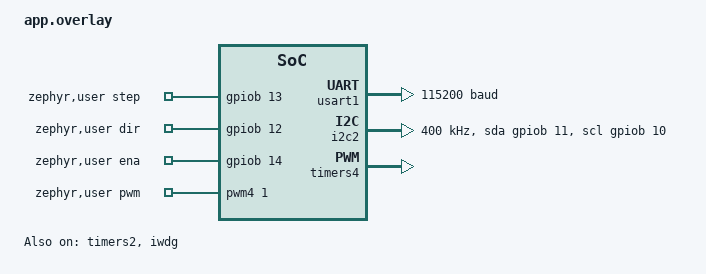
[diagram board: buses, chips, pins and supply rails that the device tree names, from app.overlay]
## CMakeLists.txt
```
# Antenna V5 azimuth fuzzy controller - Zephyr application
# Board: stm32_min_dev@blue (STM32F103C8 "Blue Pill")
cmake_minimum_required(VERSION 3.20.0)

set(BOARD stm32_min_dev@blue CACHE STRING "Target board")

find_package(Zephyr REQUIRED HINTS $ENV{ZEPHYR_BASE})
project(antenna_v5)

target_include_directories(app PRIVATE core src)
target_sources(app PRIVATE
  core/antenna_core.c
  core/stepgen.c
  core/link_proto.c
  src/main.c
  src/hw_stepper.c
  src/hw_mt6701.c
  src/hw_servo.c
  src/uart_link.c
  src/params_store.c
)
# Same numerical behaviour as the host/MEX builds: no fast-math, no implicit doubles.
target_compile_options(app PRIVATE -Wdouble-promotion -fno-fast-math)
```

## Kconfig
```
mainmenu "Antenna V5 azimuth fuzzy controller"

menu "Antenna application"

config ANTENNA_MT6701_SINGLE_READS
	bool "Read MT6701 registers 0x03 and 0x04 with two single-byte transfers"
	help
	  The datasheet figure shows two single-byte reads (0x03 first, then
	  0x04). The default burst read of two bytes starting at 0x03 is what
	  most drivers use and is faster; enable this if a module returns
	  inconsistent bytes with burst reads.

config ANTENNA_TX_BUF_SIZE
	int "UART transmit ring buffer size"
	default 4096

config ANTENNA_TELEMETRY_MS
	int "Telemetry period at boot in ms (0 = off)"
	default 100

config ANTENNA_WDT_TIMEOUT_MS
	int "Independent watchdog timeout in ms"
	default 1000

endmenu

source "Kconfig.zephyr"
```

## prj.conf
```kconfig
# Antenna V5 - STM32F103C8 Blue Pill, Zephyr 3.7
CONFIG_GPIO=y
CONFIG_SERIAL=y
CONFIG_UART_INTERRUPT_DRIVEN=y
CONFIG_I2C=y
CONFIG_I2C_STM32_BUS_RECOVERY=y
CONFIG_PWM=y
CONFIG_COUNTER=y
CONFIG_WATCHDOG=y
CONFIG_FLASH=y
CONFIG_FLASH_MAP=y
CONFIG_NVS=y
CONFIG_CRC=y
CONFIG_RING_BUFFER=y
# link inside code_partition (0..60K); the last 4K hold the NVS parameters
CONFIG_USE_DT_CODE_PARTITION=y

# The UART carries the command/telemetry protocol only.
CONFIG_CONSOLE=n
CONFIG_UART_CONSOLE=n
CONFIG_PRINTK=n
CONFIG_BOOT_BANNER=n
CONFIG_LOG=n
CONFIG_ASSERT=n

# Control loop runs in the main thread (priority 2 preemptible), 100 Hz k_timer.
CONFIG_MAIN_THREAD_PRIORITY=2
CONFIG_MAIN_STACK_SIZE=2048
CONFIG_ISR_STACK_SIZE=1024
CONFIG_IDLE_STACK_SIZE=320
CONFIG_SYS_CLOCK_TICKS_PER_SEC=1000

CONFIG_COMPILER_WARNINGS_AS_ERRORS=y
CONFIG_SIZE_OPTIMIZATIONS=y
```

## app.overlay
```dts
/*
 * Antenna V5 pin map on the STM32F103C8 Blue Pill (board stm32_min_dev@blue).
 *
 *   PB13  STEP  -> NPN buffer -> TB6600 PUL-   (PUL+ to 5 V, common anode)
 *   PB12  DIR   -> NPN buffer -> TB6600 DIR-   (DIR+ to 5 V)
 *   PB14  ENA   -> NPN buffer -> TB6600 EN-    (optional; high = motor released)
 *   PB6   TIM4_CH1 servo PWM 50 Hz -> LD-1501MG signal (1 k series)
 *   PB10  I2C2 SCL, PB11 I2C2 SDA -> MT6701 (3.3 V, 4.7 k pull-ups)
 *   PA9   USART1 TX -> USB-UART RX,  PA10 USART1 RX <- USB-UART TX (115200 8N1)
 *   PC13  on-board LED (status)
 * TIM2 is the STEP timer (1 MHz counter, interrupt per edge).
 */
#include <zephyr/dt-bindings/gpio/gpio.h>
#include <zephyr/dt-bindings/pwm/pwm.h>

/ {
	chosen {
		zephyr,code-partition = &code_partition;
	};

	zephyr,user {
		step-gpios = <&gpiob 13 GPIO_ACTIVE_HIGH>;
		dir-gpios = <&gpiob 12 GPIO_ACTIVE_HIGH>;
		ena-gpios = <&gpiob 14 GPIO_ACTIVE_HIGH>;
		pwms = <&pwm4 1 PWM_MSEC(20) PWM_POLARITY_NORMAL>;
	};

	aliases {
		watchdog0 = &iwdg;
	};
};

/* Peripherals enabled by the board file that share our pins or are unused. */
&usart2 { status = "disabled"; };
&usart3 { status = "disabled"; };   /* PB10/PB11 are used by I2C2 */
&spi1 { status = "disabled"; };
&spi2 { status = "disabled"; };     /* PB12..PB15 are used for STEP/DIR/ENA */
&i2c1 { status = "disabled"; };     /* PB6 is the servo PWM */
&adc1 { status = "disabled"; };
&pwm1 { status = "disabled"; };
&timers1 { status = "disabled"; };
&usb { status = "disabled"; };

&usart1 {
	current-speed = <115200>;
	interrupts = <37 2>;
};

&i2c2 {
	status = "okay";
	clock-frequency = <I2C_BITRATE_FAST>;
	interrupts = <33 1>, <34 1>;
	scl-gpios = <&gpiob 10 (GPIO_OPEN_DRAIN | GPIO_PULL_UP)>;
	sda-gpios = <&gpiob 11 (GPIO_OPEN_DRAIN | GPIO_PULL_UP)>;
};

&timers2 {
	st,prescaler = <71>;          /* 72 MHz / 72 = 1 MHz, 1 us per tick */
	interrupts = <28 0>;          /* highest priority: STEP edges */
	status = "okay";

	stepgen_counter: counter {
		compatible = "st,stm32-counter";
		status = "okay";
	};
};

&timers4 {
	st,prescaler = <71>;          /* 1 us PWM resolution, 20000 counts per frame */
	status = "okay";

	pwm4: pwm {
		compatible = "st,stm32-pwm";
		pinctrl-0 = <&tim4_ch1_pwm_out_pb6>;
		pinctrl-names = "default";
		#pwm-cells = <3>;
		status = "okay";
	};
};

&iwdg {
	status = "okay";
};

&flash0 {
	partitions {
		compatible = "fixed-partitions";
		#address-cells = <1>;
		#size-cells = <1>;

		code_partition: partition@0 {
			label = "code";
			reg = <0x00000000 DT_SIZE_K(60)>;
			read-only;
		};

		storage_partition: partition@f000 {
			label = "storage";
			reg = <0x0000f000 DT_SIZE_K(4)>;
		};
	};
};
```

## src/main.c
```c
/*
 * Antenna V5 firmware - STM32F103C8 Blue Pill, Zephyr.
 *
 *   17HS1352-P4130 + TB6600 (12 V, 1/16) --GT2 20T:80T--> azimuth shaft
 *   MT6701 on the azimuth shaft (I2C2) -> fuzzy Sugeno azimuth loop, 100 Hz
 *   LD-1501MG elevation servo (internal position loop) <- PWM 50 Hz
 *
 * Everything that decides motion lives in core/ (portable C shared with the
 * MATLAB SIL/PIL tests). This file only wires the core to the hardware:
 * one 10 ms tick = read sensor, acore_step, update STEP timer and servo PWM,
 * then execute the UART commands received during the previous period.
 */
#include <zephyr/drivers/gpio.h>
#include <zephyr/drivers/watchdog.h>
#include <zephyr/kernel.h>

#include "antenna_core.h"
#include "hw_mt6701.h"
#include "hw_servo.h"
#include "hw_stepper.h"
#include "link_proto.h"
#include "params_store.h"
#include "uart_link.h"

static acore_params_t par;
static acore_t core;
static link_ctx_t lk;
static uint16_t last_raw;
static uint32_t last_loop_us;
static uint32_t sensor_errors;

static const struct gpio_dt_spec led = GPIO_DT_SPEC_GET(DT_ALIAS(led0), gpios);
static const struct device *const wdt = DEVICE_DT_GET(DT_ALIAS(watchdog0));
static int wdt_channel = -1;

K_SEM_DEFINE(tick_sem, 0, 1);

static void tick_fn(struct k_timer *timer)
{
	ARG_UNUSED(timer);
	k_sem_give(&tick_sem);
}
K_TIMER_DEFINE(ctrl_timer, tick_fn, NULL);

/* ---------- protocol hooks ---------- */

static void hk_write(link_ctx_t *l, const char *text)
{
	ARG_UNUSED(l);
	(void)uart_link_write(text);
}

static int hk_save(link_ctx_t *l)
{
	ARG_UNUSED(l);
	return params_store_save(&par);
}

static int hk_load(link_ctx_t *l)
{
	ARG_UNUSED(l);
	if (params_store_load(&par) != 0) {
		acore_params_default(&par);
		return -1;
	}
	return 0;
}

static int hk_read_raw(link_ctx_t *l, uint16_t *raw)
{
	ARG_UNUSED(l);
	return hw_mt6701_read(raw);
}

static void hk_set_pil(link_ctx_t *l, int on)
{
	ARG_UNUSED(l);
	/* PIL: the model in MATLAB is the plant; never move the real motor */
	hw_stepper_enable(on == 0);
}

static uint32_t hk_cycles(link_ctx_t *l)
{
	ARG_UNUSED(l);
	return k_cycle_get_32();
}

static void hk_params_changed(link_ctx_t *l)
{
	ARG_UNUSED(l);
	hw_stepper_set_motor_sign(par.motor_sign);
}

static void hk_telemetry(link_ctx_t *l)
{
	char buf[LINK_LINE_MAX + 32];

	if (link_format_telemetry(buf, sizeof(buf), l->core, k_uptime_get_32(), hw_stepper_steps(),
				  last_raw, last_loop_us, l->pil)) {
		(void)uart_link_write(buf);
	}
}

static const link_hooks_t hooks = {
	.write = hk_write,
	.save_params = hk_save,
	.load_params = hk_load,
	.read_raw = hk_read_raw,
	.set_pil = hk_set_pil,
	.cycles_now = hk_cycles,
	.params_changed = hk_params_changed,
	.telemetry = hk_telemetry,
};

/* ---------- helpers ---------- */

static void watchdog_start(void)
{
	struct wdt_timeout_cfg cfg = {
		.window = {.min = 0u, .max = CONFIG_ANTENNA_WDT_TIMEOUT_MS},
		.callback = NULL,
		.flags = WDT_FLAG_RESET_SOC,
	};

	if (!device_is_ready(wdt)) {
		return;
	}
	wdt_channel = wdt_install_timeout(wdt, &cfg);
	if (wdt_channel < 0) {
		return;
	}
	if (wdt_setup(wdt, WDT_OPT_PAUSE_HALTED_BY_DBG) != 0) {
		(void)wdt_setup(wdt, 0);
	}
}

static void led_update(uint32_t tick)
{
	int on;

	if (lk.pil) {
		on = 1;
	} else if (core.mode == ACORE_MODE_FAULT) {
		on = (tick / 10u) & 1u; /* 5 Hz */
	} else if (core.mode == ACORE_MODE_NOZERO) {
		on = (tick % 100u) < 10u; /* short flash each second */
	} else {
		on = (tick / 50u) & 1u; /* 1 Hz */
	}
	gpio_pin_set_dt(&led, on);
}

static void report_item(const char *name, int rc)
{
	char num[12];

	(void)uart_link_write(name);
	link_fmt_i32(num, rc);
	(void)uart_link_write(num);
}

/* "name=0" means OK; a negative value is a Zephyr errno. */
static void report_boot(int params_rc, int sensor_rc, int store_rc, int stepper_rc, int servo_rc)
{
	(void)uart_link_write("# antenna_v5 Zephyr " LINK_FW_VERSION " ready\n# params=");
	(void)uart_link_write(params_rc == 0 ? "flash" : "default");
	report_item(" nvs=", store_rc);
	report_item(" sensor=", sensor_rc);
	report_item(" stepper=", stepper_rc);
	report_item(" servo=", servo_rc);
	(void)uart_link_write("\n");
}

int main(void)
{
	char line[LINK_LINE_MAX];
	acore_in_t in = {0};
	acore_out_t out;
	uint32_t tick = 0, prev = 0, telemetry_acc = 0;
	const uint32_t ts_cycles = (uint32_t)(sys_clock_hw_cycles_per_sec() / 100u);
	int store_rc, params_rc, sensor_rc, stepper_rc, servo_rc;
	uint16_t raw;

	if (gpio_is_ready_dt(&led)) {
		gpio_pin_configure_dt(&led, GPIO_OUTPUT_INACTIVE);
	}
	(void)uart_link_init();
	stepper_rc = hw_stepper_init();
	sensor_rc = hw_mt6701_init();
	store_rc = params_store_init();

	acore_params_default(&par);
	params_rc = params_store_load(&par);
	if (params_rc != 0) {
		acore_params_default(&par);
	}
	hw_stepper_set_motor_sign(par.motor_sign);
	acore_init(&core, &par);
	servo_rc = hw_servo_init(core.out.servo_us);
	link_init(&lk, &core, &par, &hooks, NULL);
	lk.telemetry_ms = CONFIG_ANTENNA_TELEMETRY_MS;
	if (sensor_rc == 0) {
		sensor_rc = hw_mt6701_read(&raw);
	}
	report_boot(params_rc, sensor_rc, store_rc, stepper_rc, servo_rc);
	watchdog_start();

	/* The control period is fixed at 10 ms (parameter ts is read-only). */
	k_timer_start(&ctrl_timer, K_MSEC(10), K_MSEC(10));

	for (;;) {
		uint32_t t0, period;

		k_sem_take(&tick_sem, K_FOREVER);
		t0 = k_cycle_get_32();
		period = t0 - prev;
		prev = t0;
		tick++;
		if (wdt_channel >= 0) {
			(void)wdt_feed(wdt, wdt_channel);
		}

		if (!lk.pil) {
			int rc = hw_mt6701_read(&raw);

			in.sensor_ok = (rc == 0);
			if (rc == 0) {
				in.raw = raw;
				last_raw = raw;
			} else if ((++sensor_errors % 10u) == 3u) {
				(void)hw_mt6701_recover();
			}
			in.steps = hw_stepper_steps();
			in.heartbeat = lk.heartbeat;
			lk.heartbeat = 0;
			in.overrun = (tick > 2u && period > ts_cycles + ts_cycles / 2u) ? 1u : 0u;
			acore_step(&core, &par, &in, &out);
			hw_stepper_command(out.half_period_us, out.dir);
			(void)hw_servo_set_us(out.servo_us);
		}

		/* commands received during the last period take effect at the next step */
		while (uart_link_get_line(line, sizeof(line)) == 0) {
			link_handle_line(&lk, line);
		}

		if (lk.telemetry_ms != 0u && !lk.pil) {
			telemetry_acc += 10u;
			if (telemetry_acc >= lk.telemetry_ms) {
				telemetry_acc = 0u;
				hk_telemetry(&lk);
			}
		}
		led_update(tick);
		last_loop_us = k_cyc_to_us_floor32(k_cycle_get_32() - t0);
	}
	return 0;
}
```

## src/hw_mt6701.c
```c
/*
 * MT6701 (MagnTek, Rev.1.8): default 7-bit slave address 0x06.
 * Reg 0x03 = Angle[13:6], reg 0x04 bits 7..2 = Angle[5:0]; read 0x03 first.
 * angle = raw / 16384 * 360 deg. I2C clock up to 1 MHz; 400 kHz is used.
 */
#include "hw_mt6701.h"

#include <zephyr/device.h>
#include <zephyr/drivers/i2c.h>

#define MT6701_ADDR      0x06
#define MT6701_REG_ANGLE 0x03

static const struct device *const bus = DEVICE_DT_GET(DT_NODELABEL(i2c2));

int hw_mt6701_init(void)
{
	return device_is_ready(bus) ? 0 : -ENODEV;
}

int hw_mt6701_read(uint16_t *raw)
{
	uint8_t b[2];
	int rc;

#ifdef CONFIG_ANTENNA_MT6701_SINGLE_READS
	rc = i2c_reg_read_byte(bus, MT6701_ADDR, MT6701_REG_ANGLE, &b[0]);
	if (rc == 0) {
		rc = i2c_reg_read_byte(bus, MT6701_ADDR, MT6701_REG_ANGLE + 1, &b[1]);
	}
#else
	rc = i2c_burst_read(bus, MT6701_ADDR, MT6701_REG_ANGLE, b, sizeof(b));
#endif
	if (rc != 0) {
		return rc;
	}
	*raw = (uint16_t)(((uint16_t)b[0] << 6) | (b[1] >> 2));
	return 0;
}

int hw_mt6701_recover(void)
{
	return i2c_recover_bus(bus);
}
```

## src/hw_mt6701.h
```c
/* MT6701 magnetic angle sensor on I2C2 (address 0x06, angle in 0x03/0x04). */
#ifndef HW_MT6701_H
#define HW_MT6701_H

#include <stdint.h>

int hw_mt6701_init(void);
/* 14-bit absolute angle; returns 0 or a negative errno. */
int hw_mt6701_read(uint16_t *raw);
/* Toggle SCL to free a stuck bus after repeated errors. */
int hw_mt6701_recover(void);

#endif
```

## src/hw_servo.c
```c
#include "hw_servo.h"

#include <zephyr/drivers/pwm.h>

static const struct pwm_dt_spec servo = PWM_DT_SPEC_GET(DT_PATH(zephyr_user));
static uint16_t current_us;

int hw_servo_init(uint16_t pulse_us)
{
	if (!pwm_is_ready_dt(&servo)) {
		return -ENODEV;
	}
	current_us = 0u;
	return hw_servo_set_us(pulse_us);
}

int hw_servo_set_us(uint16_t pulse_us)
{
	if (pulse_us == current_us) {
		return 0;
	}
	current_us = pulse_us;
	return pwm_set_pulse_dt(&servo, PWM_USEC(pulse_us));
}
```

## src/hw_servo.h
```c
/* LD-1501MG servo pulse on TIM4_CH1 (PB6), 50 Hz frame. */
#ifndef HW_SERVO_H
#define HW_SERVO_H

#include <stdint.h>

int hw_servo_init(uint16_t pulse_us);
/* Applied by the timer at the start of the next 20 ms frame (preload). */
int hw_servo_set_us(uint16_t pulse_us);

#endif
```

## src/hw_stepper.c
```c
/*
 * STEP generation: TIM2 runs as a Zephyr counter at 1 MHz. Every top-value
 * interrupt calls stepgen_tick(), which returns the time to the next edge;
 * the new top value is loaded without resetting the counter, so the edge
 * spacing is set by the hardware timer and not by the interrupt latency.
 */
#include "hw_stepper.h"

#include <zephyr/device.h>
#include <zephyr/drivers/counter.h>
#include <zephyr/drivers/gpio.h>
#include <zephyr/kernel.h>

#include "stepgen.h"

#define USER_NODE DT_PATH(zephyr_user)
#define DIR_GUARD_US 50u

static const struct gpio_dt_spec step_pin = GPIO_DT_SPEC_GET(USER_NODE, step_gpios);
static const struct gpio_dt_spec dir_pin = GPIO_DT_SPEC_GET(USER_NODE, dir_gpios);
#if DT_NODE_HAS_PROP(USER_NODE, ena_gpios)
static const struct gpio_dt_spec ena_pin = GPIO_DT_SPEC_GET(USER_NODE, ena_gpios);
#endif
static const struct device *const timer = DEVICE_DT_GET(DT_NODELABEL(stepgen_counter));

static stepgen_t sg;
static volatile int8_t motor_sign = 1;
static volatile bool enabled = true;
static uint32_t loaded_ticks;

static void write_dir(int8_t dir)
{
	gpio_pin_set_dt(&dir_pin, (dir * motor_sign) > 0);
}

static void top_cb(const struct device *dev, void *user_data)
{
	stepgen_pins_t pins;
	uint32_t next = stepgen_tick(&sg, &pins);

	ARG_UNUSED(user_data);
	if (pins.dir_changed) {
		write_dir(pins.dir);
	}
	gpio_pin_set_dt(&step_pin, pins.step_level && enabled);
	if (next == 0u) {
		counter_stop(dev);
		return;
	}
	if (next - 1u != loaded_ticks) {
		struct counter_top_cfg cfg = {
			.ticks = next - 1u, /* period = top + 1 ticks */
			.callback = top_cb,
			.user_data = NULL,
			.flags = COUNTER_TOP_CFG_DONT_RESET,
		};

		loaded_ticks = next - 1u;
		(void)counter_set_top_value(dev, &cfg);
	}
}

int hw_stepper_init(void)
{
	if (!gpio_is_ready_dt(&step_pin) || !gpio_is_ready_dt(&dir_pin) || !device_is_ready(timer)) {
		return -ENODEV;
	}
	if (counter_get_frequency(timer) != 1000000u) {
		return -EINVAL; /* st,prescaler must give 1 us ticks */
	}
	gpio_pin_configure_dt(&step_pin, GPIO_OUTPUT_INACTIVE);
	gpio_pin_configure_dt(&dir_pin, GPIO_OUTPUT_INACTIVE);
#if DT_NODE_HAS_PROP(USER_NODE, ena_gpios)
	gpio_pin_configure_dt(&ena_pin, GPIO_OUTPUT_INACTIVE); /* driver enabled */
#endif
	stepgen_init(&sg, DIR_GUARD_US);
	write_dir(sg.dir);
	return 0;
}

void hw_stepper_command(uint32_t half_period_us, int8_t dir)
{
	unsigned int key;
	uint32_t start;

	if (!enabled) {
		half_period_us = 0u;
	}
	key = irq_lock();
	start = stepgen_command(&sg, half_period_us, dir);
	if (start != 0u) {
		struct counter_top_cfg cfg = {
			.ticks = start - 1u,
			.callback = top_cb,
			.user_data = NULL,
			.flags = 0, /* reset the counter: first edge after `start` us */
		};

		loaded_ticks = start - 1u;
		(void)counter_set_top_value(timer, &cfg);
		(void)counter_start(timer);
	} else if (sg.running) {
		/* faster rate while a long interval runs: shorten it (CNT = elapsed us) */
		uint32_t elapsed = 0u;
		uint32_t iv;

		(void)counter_get_value(timer, &elapsed);
		iv = stepgen_retime(&sg, elapsed);
		if (iv != 0u) {
			struct counter_top_cfg cfg = {
				.ticks = iv - 1u,
				.callback = top_cb,
				.user_data = NULL,
				.flags = COUNTER_TOP_CFG_DONT_RESET | COUNTER_TOP_CFG_RESET_WHEN_LATE,
			};

			loaded_ticks = iv - 1u;
			(void)counter_set_top_value(timer, &cfg);
		}
	}
	irq_unlock(key);
}

int32_t hw_stepper_steps(void)
{
	return sg.steps;
}

void hw_stepper_set_motor_sign(int8_t sign)
{
	unsigned int key = irq_lock();

	motor_sign = sign < 0 ? -1 : 1;
	write_dir(sg.dir);
	irq_unlock(key);
}

void hw_stepper_enable(bool enable)
{
	if (!enable) {
		hw_stepper_command(0u, 1);
	}
	enabled = enable;
#if DT_NODE_HAS_PROP(USER_NODE, ena_gpios)
	gpio_pin_set_dt(&ena_pin, enable ? 0 : 1);
#endif
}
```

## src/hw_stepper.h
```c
/* TB6600 STEP/DIR/ENA outputs driven by the portable stepgen state machine. */
#ifndef HW_STEPPER_H
#define HW_STEPPER_H

#include <stdbool.h>
#include <stdint.h>

int hw_stepper_init(void);
/* New command from the control loop (half period in us, 0 = stop). */
void hw_stepper_command(uint32_t half_period_us, int8_t dir);
/* Rising edges emitted so far, signed by logical direction. */
int32_t hw_stepper_steps(void);
void hw_stepper_set_motor_sign(int8_t sign);
/* false: STEP held low and the driver released through ENA (PIL mode). */
void hw_stepper_enable(bool enable);

#endif
```

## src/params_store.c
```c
/*
 * Parameters live in one NVS record with a version and a CRC-32. Writing
 * erases/programs internal flash, which stalls the CPU for tens of ms, so
 * the protocol only allows it while the azimuth is not moving.
 */
#include "params_store.h"

#include <stddef.h>
#include <string.h>
#include <zephyr/drivers/flash.h>
#include <zephyr/fs/nvs.h>
#include <zephyr/storage/flash_map.h>
#include <zephyr/sys/crc.h>

#define PARAMS_ID 1

typedef struct {
	uint16_t version;
	uint16_t size;
	acore_params_t p;
	uint32_t crc;
} blob_t;

static struct nvs_fs fs;
static bool mounted;

int params_store_init(void)
{
	struct flash_pages_info info;
	int rc;

	fs.flash_device = FIXED_PARTITION_DEVICE(storage_partition);
	if (!device_is_ready(fs.flash_device)) {
		return -ENODEV;
	}
	fs.offset = FIXED_PARTITION_OFFSET(storage_partition);
	rc = flash_get_page_info_by_offs(fs.flash_device, fs.offset, &info);
	if (rc) {
		return rc;
	}
	fs.sector_size = (uint16_t)info.size;
	fs.sector_count = (uint16_t)(FIXED_PARTITION_SIZE(storage_partition) / info.size);
	rc = nvs_mount(&fs);
	mounted = (rc == 0);
	return rc;
}

static uint32_t blob_crc(const blob_t *b)
{
	return crc32_ieee((const uint8_t *)b, offsetof(blob_t, crc));
}

int params_store_load(acore_params_t *p)
{
	blob_t b;
	ssize_t n;

	if (!mounted) {
		return -ENODEV;
	}
	n = nvs_read(&fs, PARAMS_ID, &b, sizeof(b));
	if (n != (ssize_t)sizeof(b)) {
		return -ENOENT;
	}
	if (b.version != ACORE_VERSION || b.size != sizeof(acore_params_t) ||
	    b.crc != blob_crc(&b) || acore_params_check(&b.p) != 0) {
		return -EINVAL;
	}
	*p = b.p;
	return 0;
}

int params_store_save(const acore_params_t *p)
{
	blob_t b;
	ssize_t n;

	if (!mounted) {
		return -ENODEV;
	}
	memset(&b, 0, sizeof(b));
	b.version = ACORE_VERSION;
	b.size = sizeof(acore_params_t);
	b.p = *p;
	b.crc = blob_crc(&b);
	n = nvs_write(&fs, PARAMS_ID, &b, sizeof(b));
	/* 0 = identical data already stored */
	return (n == (ssize_t)sizeof(b) || n == 0) ? 0 : -EIO;
}
```

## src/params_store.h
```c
/* Parameter persistence in the 4 KB storage partition (Zephyr NVS). */
#ifndef PARAMS_STORE_H
#define PARAMS_STORE_H

#include "antenna_core.h"

int params_store_init(void);
/* 0 = loaded; negative = nothing valid stored (p is not modified). */
int params_store_load(acore_params_t *p);
int params_store_save(const acore_params_t *p);

#endif
```

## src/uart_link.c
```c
#include "uart_link.h"

#include <string.h>
#include <zephyr/device.h>
#include <zephyr/drivers/uart.h>
#include <zephyr/kernel.h>
#include <zephyr/sys/ring_buffer.h>

#include "link_proto.h"

static const struct device *const uart = DEVICE_DT_GET(DT_NODELABEL(usart1));

RING_BUF_DECLARE(tx_ring, CONFIG_ANTENNA_TX_BUF_SIZE);
K_MSGQ_DEFINE(rx_lines, LINK_LINE_MAX, 8, 4);

static char rx_buf[LINK_LINE_MAX];
static size_t rx_len;
static bool rx_overflow;
static uint32_t dropped;

static void uart_isr(const struct device *dev, void *user_data)
{
	ARG_UNUSED(user_data);
	while (uart_irq_update(dev) && uart_irq_is_pending(dev)) {
		if (uart_irq_rx_ready(dev)) {
			uint8_t buf[16];
			int n = uart_fifo_read(dev, buf, sizeof(buf));

			for (int i = 0; i < n; i++) {
				char c = (char)buf[i];

				if (c == '\r') {
					continue;
				}
				if (c == '\n') {
					if (!rx_overflow && rx_len > 0u) {
						rx_buf[rx_len] = 0;
						(void)k_msgq_put(&rx_lines, rx_buf, K_NO_WAIT);
					}
					rx_len = 0u;
					rx_overflow = false;
				} else if (rx_len < sizeof(rx_buf) - 1u) {
					rx_buf[rx_len++] = c;
				} else {
					rx_overflow = true; /* line too long: dropped */
				}
			}
		}
		if (uart_irq_tx_ready(dev)) {
			uint8_t *data;
			uint32_t n = ring_buf_get_claim(&tx_ring, &data, 16u);

			if (n == 0u) {
				ring_buf_get_finish(&tx_ring, 0u);
				uart_irq_tx_disable(dev);
			} else {
				int sent = uart_fifo_fill(dev, data, (int)n);

				ring_buf_get_finish(&tx_ring, sent > 0 ? (uint32_t)sent : 0u);
			}
		}
	}
}

int uart_link_init(void)
{
	if (!device_is_ready(uart)) {
		return -ENODEV;
	}
	uart_irq_callback_user_data_set(uart, uart_isr, NULL);
	uart_irq_rx_enable(uart);
	return 0;
}

int uart_link_get_line(char *buf, size_t size)
{
	char line[LINK_LINE_MAX];

	if (k_msgq_get(&rx_lines, line, K_NO_WAIT) != 0) {
		return -EAGAIN;
	}
	strncpy(buf, line, size - 1u);
	buf[size - 1u] = 0;
	return 0;
}

size_t uart_link_write(const char *text)
{
	size_t len = strlen(text);
	unsigned int key = irq_lock();
	uint32_t put;

	if (ring_buf_space_get(&tx_ring) < len) {
		put = 0u; /* never send a partial line */
	} else {
		put = ring_buf_put(&tx_ring, (const uint8_t *)text, (uint32_t)len);
	}
	irq_unlock(key);
	if (put != len) {
		dropped += (uint32_t)(len - put);
	}
	uart_irq_tx_enable(uart);
	return len - put;
}

uint32_t uart_link_dropped(void)
{
	return dropped;
}
```

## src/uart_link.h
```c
/* Interrupt-driven USART1: received lines -> queue, text -> TX ring buffer. */
#ifndef UART_LINK_H
#define UART_LINK_H

#include <stddef.h>
#include <stdint.h>

int uart_link_init(void);
/* Non-blocking: copies one received line (NUL-terminated) into buf. */
int uart_link_get_line(char *buf, size_t size);
/* Queues text for transmission; returns bytes dropped when the buffer is full. */
size_t uart_link_write(const char *text);
uint32_t uart_link_dropped(void);

#endif
```
